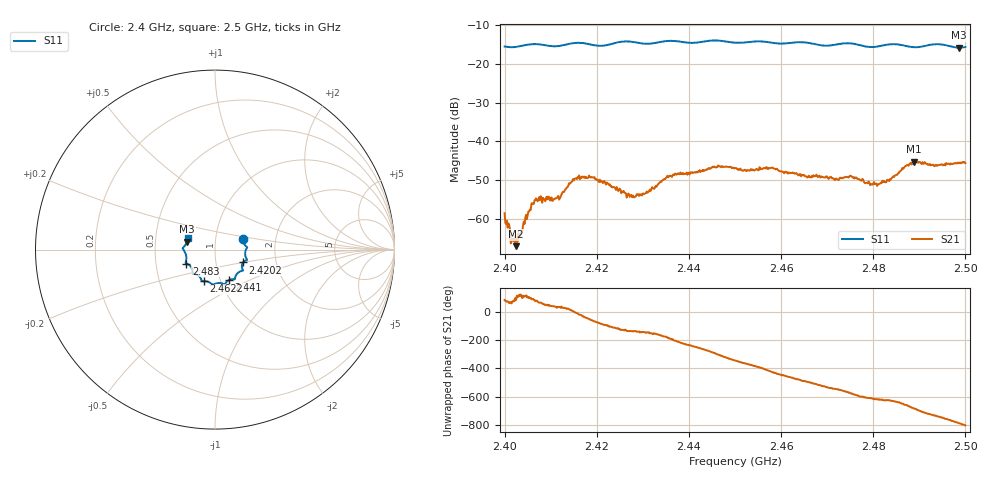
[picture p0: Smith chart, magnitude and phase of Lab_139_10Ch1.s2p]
# Hz S RI R 50
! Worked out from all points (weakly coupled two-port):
!   601 points, 2.4 GHz to 2.5 GHz, reference 50 ohm
!   highest |S21| = -45.31 dB at 2.4888 GHz (marker M1); lowest = -67.1 dB at 2.4025 GHz (marker M2)
!   lowest |S11| = -15.8 dB at 2.4987 GHz (marker M3), VSWR 1.39, Z = 36.4 + j3.3 ohm
!   |S11| at or under -10 dB: start of sweep to end of sweep
!   S12 and S22 are empty: the file has one direction only
!   S11 on the Smith chart (normalised r, x): 2.4 GHz: 1.36, +0.17; 2.4202 GHz: 1.35, -0.20; 2.441 GHz: 1.10, -0.39; 2.4622 GHz: 0.83, -0.30; 2.483 GHz: 0.72, -0.12; 2.5 GHz: 0.73, +0.09
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2.4e9  0.1563 0.0603  8.76e-05 0.00117  0 0  0 0
2.401667e9  0.1594 0.0403  0.000135 0.000528  0 0  0 0
2.4025e9  0.1631 0.031  2.5e-05 0.00044  0 0  0 0
2.406333e9  0.1798 0.013  8.99e-05 0.00155  0 0  0 0
2.411667e9  0.1678 -0.0268  0.00159 0.00115  0 0  0 0
2.4145e9  0.1765 -0.0527  0.00293 0.000565  0 0  0 0
2.416667e9  0.1774 -0.0585  0.00314 -0.00123  0 0  0 0
2.420167e9  0.1559 -0.0717  0.000947 -0.00305  0 0  0 0
2.427667e9  0.1531 -0.1173  -0.00139 -0.00128  0 0  0 0
2.433333e9  0.1129 -0.1523  -0.00262 -0.000923  0 0  0 0
2.435667e9  0.1112 -0.1646  -0.00348 0.000226  0 0  0 0
2.441e9  0.0769 -0.1705  -0.00174 0.00352  0 0  0 0
2.45e9  0.0267 -0.1863  0.00433 0.00133  0 0  0 0
2.462167e9  -0.063 -0.1763  -0.000935 -0.00378  0 0  0 0
2.466667e9  -0.0766 -0.167  -0.00279 -0.00221  0 0  0 0
2.475167e9  -0.1258 -0.1343  -0.00287 0.00213  0 0  0 0
2.479833e9  -0.1351 -0.0945  -0.000742 0.00266  0 0  0 0
2.483e9  -0.1592 -0.078  -0.000242 0.00317  0 0  0 0
2.483333e9  -0.1608 -0.0772  -0.000245 0.00312  0 0  0 0
2.488833e9  -0.16 -0.0374  0.00447 0.00308  0 0  0 0
2.498667e9  -0.156 0.0442  0.0018 -0.00488  0 0  0 0
2.5e9  -0.1529 0.0628  0.000466 -0.00521  0 0  0 0
